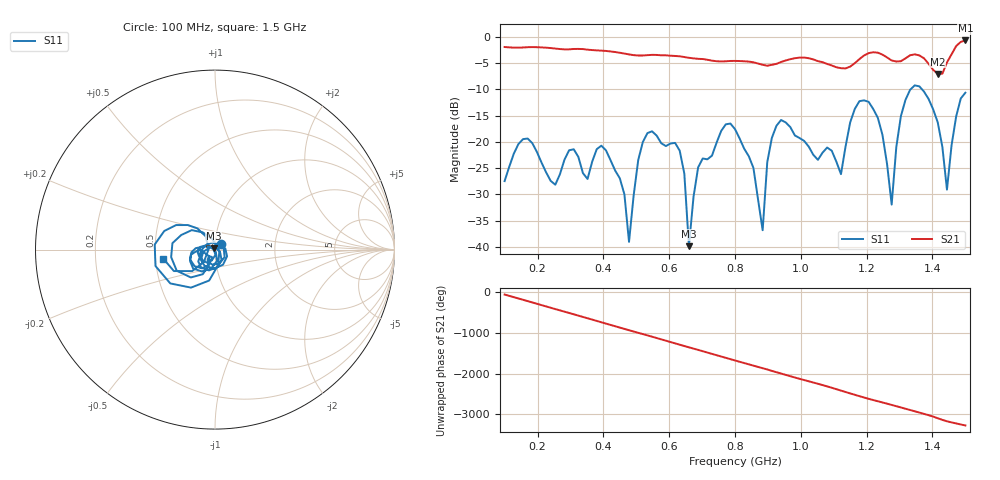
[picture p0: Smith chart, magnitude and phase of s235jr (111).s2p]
! NanoVNA-App
! Date: 2025-09-25 15:05:01
! Start: 100MHz Stop: 1,5GHz Points: 101
! S-Parameter data: F S11 S21 S12 S22
# Hz S RI R 50
!  Frequency  S11_Real  S11_Imag  S21_Real  S21_Imag  S12_Real  S12_Imag  S22_Real  S22_Imag
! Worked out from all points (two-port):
!   101 points, 100 MHz to 1.5 GHz, reference 50 ohm
!   highest |S21| = -0.72 dB at 1.5 GHz (marker M1); lowest = -7.1 dB at 1.416 GHz (marker M2)
!   |S21| within 3 dB of the highest: start of sweep to 628 MHz; 1.189 GHz to 1.256 GHz (66.77 MHz wide, 5.46 % of centre) (the widest 2 of 4)
!   lowest |S11| = -39.9 dB at 660 MHz (marker M3), VSWR 1.02, Z = 49.2 + j0.656 ohm
!   |S11| at or under -10 dB: start of sweep to 1.334 GHz; 1.368 GHz to end of sweep
!   S12 and S22 are empty: the file has one direction only
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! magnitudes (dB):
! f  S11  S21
! 100 MHz  -27.5  -2.0
! 170 MHz  -19.4  -2.0
! 338 MHz  -26.0  -2.4
! 408 MHz  -21.6  -2.7
! 478 MHz  -39.1  -3.4
! 520 MHz  -20.0  -3.6
! 576 MHz  -20.3  -3.5
! 632 MHz  -21.7  -3.7
! 660 MHz  -39.9  -4.0
! 688 MHz  -24.9  -4.2
! 800 MHz  -17.6  -4.6
! 884 MHz  -36.8  -5.3
! 898 MHz  -23.9  -5.5
! 926 MHz  -16.9  -5.2
! 1.038 GHz  -22.5  -4.3
! 1.122 GHz  -26.2  -6.0
! 1.206 GHz  -12.4  -3.1
! 1.276 GHz  -32.0  -4.5
! 1.332 GHz  -10.1  -3.5
! 1.416 GHz  -16.3  -7.1
! 1.444 GHz  -29.1  -4.9
! 1.5 GHz  -10.7  -0.7
